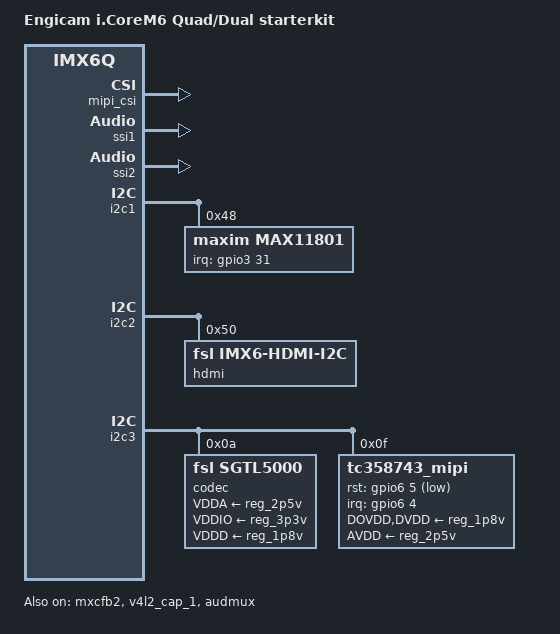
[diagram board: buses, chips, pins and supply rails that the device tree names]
/*
 * Copyright (C) 2013 Freescale Semiconductor, Inc.
 *
 * This program is free software; you can redistribute it and/or modify
 * it under the terms of the GNU General Public License version 2 as
 * published by the Free Software Foundation.
 */

/dts-v1/;

#include "imx6q.dtsi"
#include "imx6qdl-icore.dtsi"

/ {
	model = "Engicam i.CoreM6 Quad/Dual starterkit";
	compatible = "fsl,imx6-icore", "fsl,imx6q";
};

&ldb {
	ipu_id = <0>; 
	sec_ipu_id = <0>;
};

&mipi_csi {
	status = "okay";
	ipu_id = <0>;
	csi_id = <0>;
	v_channel = <0>;
	lanes = <4>;
};

&mxcfb1 {
	status = "disabled";
};

&mxcfb2 {
	status = "okay";
};

&v4l2_cap_1 {
	status = "okay";
	ipu_id = <0>;
	csi_id = <0>;
	mipi_camera = <1>;
};

&ssi1 {
	status = "okay";
};

&audmux {
	pinctrl-names = "default";
	pinctrl-0 = <&pinctrl_audmux_5>;
	status = "okay";
};

&sound {
	cpu-dai = <&ssi2>;
	mux-int-port = <2>;
	mux-ext-port = <5>;
	status = "disabled";
};

&sound_hdmi {
	status = "okay";
};

&ssi2 {
	fsl,mode = "i2s-slave"; 
	status = "okay";
};

&sound_hdmi_input {
	cpu-dai = <&ssi1>;
	mux-int-port = <1>;
	mux-ext-port = <4>;
	pinctrl-names = "default";
	pinctrl-0 = <&pinctrl_audmux_4>;
	status = "okay";
};

/* To be enabled for PCI peripheral.
   Please enable also the PCI support kernel options:
   CONFIG_PCI and PCI_IMX6
*/
&pcie {
	status = "disabled";
};


&sata {
	status = "disabled";
};

&i2c1 {

	max11801@48 {
		compatible = "maxim,max11801";
		reg = <0x48>;
		interrupt-parent = <&gpio3>;
		interrupts = <31 2>;
		work-mode = <0>;/*DCM mode*/
	};

};

&i2c2 {

	hdmi: edid@50 {
		compatible = "fsl,imx6-hdmi-i2c";
		reg = <0x50>;
	};
};


&i2c3 {
	codec: sgtl5000@0a {
		compatible = "fsl,sgtl5000";
		reg = <0x0a>;
		clocks = <&clks 201>;
		VDDA-supply = <&reg_2p5v>;
		VDDIO-supply = <&reg_3p3v>;
		VDDD-supply = <&reg_1p8v>;
	};

	tc358743_mipi: tc358743_mipi@0f {
		compatible = "tc358743_mipi";
		reg = <0x0f>;
		pinctrl-names = "default";
		pinctrl-0 = <&pinctrl_i2c2_tc358743_mipi>;
		DOVDD-supply = <&reg_1p8v>;
		AVDD-supply = <&reg_2p5v>;
		DVDD-supply = <&reg_1p8v>;
		rst-gpios = <&gpio6 5 GPIO_ACTIVE_LOW>;
		interrupts-extended = <&gpio6 4 IRQ_TYPE_LEVEL_LOW>;
		ipu_id = <0>;
		csi_id = <0>;
		mipi_camera = <1>;
		mclk = <27000000>;
		mclk_source = <0>;
	};
	
};

&iomuxc {
	touchpanel{
		pinctrl_edt_ft5x06:  edt-ft5x06grp  {
			fsl,pins = <
				MX6QDL_PAD_CSI0_DAT12__GPIO5_IO30 0x1b0b0 /*interrupt*/ 
				MX6QDL_PAD_CSI0_DAT14__GPIO6_IO00 0x1b0b0 /*reset edt*/
			>;
		};
	};

	i2c2{
		pinctrl_i2c2_tc358743_mipi: i2c2-tc358743_mipigrp {
			fsl,pins = <
				MX6QDL_PAD_CSI0_DAT19__GPIO6_IO05	0x030b0
				MX6QDL_PAD_CSI0_DAT18__GPIO6_IO04	0x0b0b0
			>;
		};
	};

};

&iomuxc {
	pinctrl-names = "default";
	pinctrl-0 = <&pinctrl_hog>;

	hog {
		pinctrl_hog: hoggrp {
			fsl,pins = <
				MX6QDL_PAD_GPIO_2__GPIO1_IO02 0x1f059
				MX6QDL_PAD_EIM_D19__GPIO3_IO19 0x1f059 /* not used pin for ADV7180 driver compatibility */
			>;
		};
	};
};

